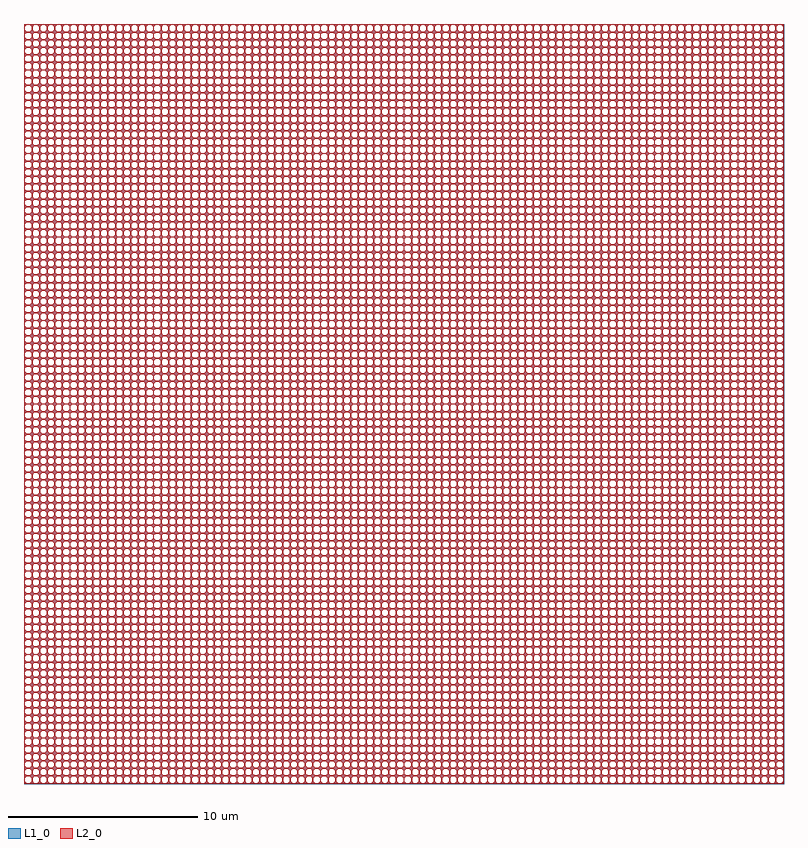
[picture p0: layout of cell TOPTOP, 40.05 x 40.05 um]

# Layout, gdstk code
import gdstk
lib = gdstk.Library(unit=1e-6, precision=1e-09)
def P(c, l, *ps):  # polygons
    for p in ps: c.add(gdstk.Polygon(p, *l))
L1_0 = (1, 0)
L2_0 = (2, 0)

element = lib.new_cell('ELEMENT')
P(element, L1_0, [(0,0),(0,0.45),(0.45,0.45),(0.45,0.3),(0.4,0.3),(0.3,0.4),(0.15,0.4),(0.05,0.3),(0.05,0.15),(0.15,0.05),(0.3,0.05),(0.4,0.15),(0.4,0.3),(0.45,0.3),(0.45,0)])

top = lib.new_cell('TOP')
r = gdstk.Reference(element, (0,0)); r.repetition = gdstk.Repetition(100, 100, v1=(0.4,0), v2=(0,0.4)); top.add(r)

element2 = lib.new_cell('ELEMENT2')
P(element2, L2_0, [(0.01,0.01),(0.01,0.44),(0.44,0.44),(0.44,0.3),(0.4,0.3),(0.3,0.4),(0.15,0.4),(0.05,0.3),(0.05,0.15),(0.15,0.05),(0.3,0.05),(0.4,0.15),(0.4,0.3),(0.44,0.3),(0.44,0.01)])

top2 = lib.new_cell('TOP2')
r = gdstk.Reference(element2, (0,0)); r.repetition = gdstk.Repetition(100, 100, v1=(0.4,0), v2=(0,0.4)); top2.add(r)

toptop = lib.new_cell('TOPTOP')
toptop.add(gdstk.Reference(top, (0,0)))
toptop.add(gdstk.Reference(top2, (0,0)))

lib.write_gds('TOPTOP.gds')
